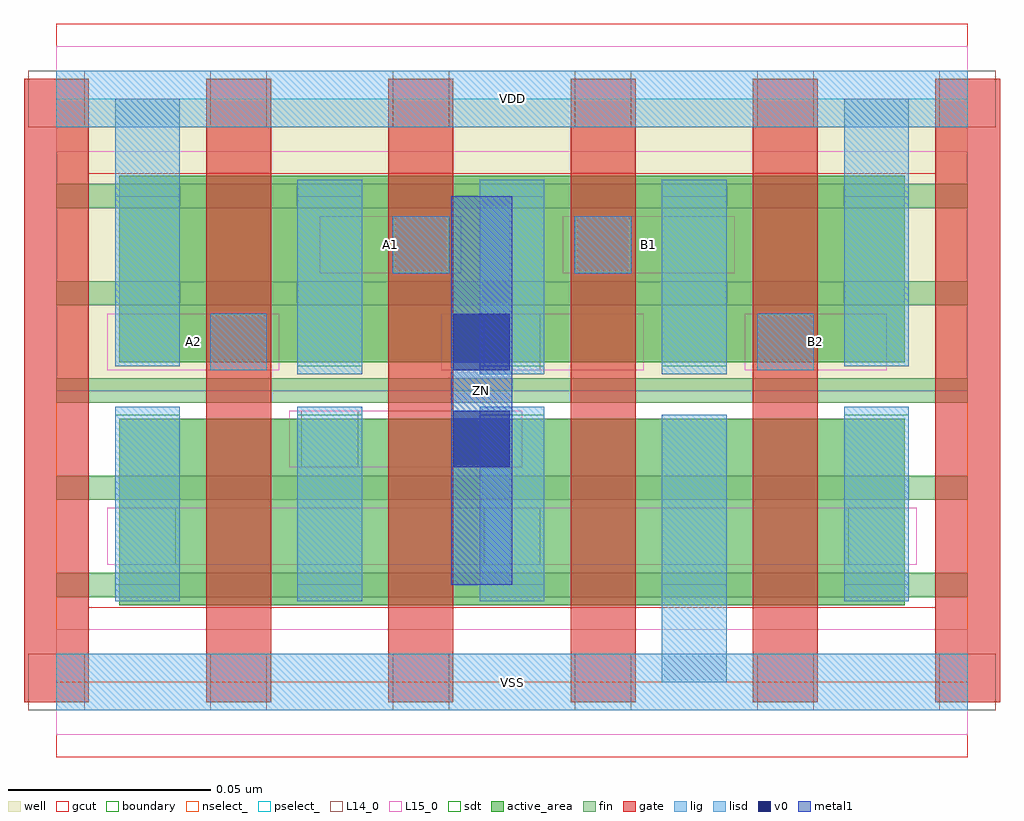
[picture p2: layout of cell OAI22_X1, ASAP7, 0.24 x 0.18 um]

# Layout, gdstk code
import gdstk
lib = gdstk.Library(unit=1e-6, precision=2.5e-10)
def R(c, l, rs):  # rectangles x0, y0, x1, y1
    for r in rs: c.add(gdstk.rectangle(r[:2], r[2:], *l))
def A(c, l, x, y, w, h, nx, ny, dx, dy):  # array of equal rectangles
    R(c, l, [(x+i*dx, y+j*dy, x+i*dx+w, y+j*dy+h) for i in range(nx) for j in range(ny)])
well = (1, 0)
fin = (2, 0)
gate = (7, 0)
gcut = (10, 0)
active_area = (11, 0)
nselect_ = (12, 0)
pselect_ = (13, 0)
L14_0 = (14, 0)
L15_0 = (15, 0)
lig = (16, 0)
lisd = (17, 0)
v0 = (18, 0)
metal1 = (19, 0)
sdt = (88, 0)
boundary = (100, 0)

oai22_x1 = lib.new_cell('OAI22_X1')
R(oai22_x1, well, [(0,0.072,0.225,0.144)])
A(oai22_x1, fin, 0, 0.021, 0.225, 0.006, 1, 5, 0, 0.024)
A(oai22_x1, gate, -0.008, -0.005, 0.016, 0.154, 6, 1, 0.045, 0)
R(oai22_x1, gcut, [(0,-0.0185,0.225,0.0185), (-0.008,-0.005,0.008,0.149), (0.217,-0.005,0.233,0.149), (0,0.1255,0.225,0.1625)])
A(oai22_x1, active_area, 0.0155, 0.019, 0.059, 0.046, 4, 2, 0.045, 0.06)
R(oai22_x1, nselect_, [(0,0,0.225,0.072)])
R(oai22_x1, pselect_, [(0,0.072,0.225,0.144)])
A(oai22_x1, L14_0, -0.007, -0.007, 0.014, 0.014, 6, 2, 0.045, 0.144)
A(oai22_x1, L14_0, 0.0155, 0.029, 0.014, 0.014, 3, 1, 0.09, 0)
A(oai22_x1, L14_0, 0.038, 0.077, 0.014, 0.014, 3, 1, 0.0675, 0)
R(oai22_x1, L14_0, [(0.0605,0.053,0.0745,0.067), (0.083,0.101,0.097,0.115), (0.128,0.101,0.142,0.115)])
R(oai22_x1, L15_0, [(0,-0.013,0.225,0.013), (0.0125,0.029,0.2125,0.043), (0.0575,0.053,0.115,0.067), (0.0125,0.077,0.055,0.091), (0.095,0.077,0.145,0.091), (0.17,0.077,0.205,0.091), (0.065,0.101,0.1,0.115), (0.125,0.101,0.1675,0.115), (0,0.131,0.225,0.157)])
R(oai22_x1, lig, [(0,-0.007,0.225,0.007), (0.038,0.077,0.052,0.091), (0.173,0.077,0.187,0.091), (0.083,0.101,0.097,0.115), (0.128,0.101,0.142,0.115), (0,0.137,0.225,0.151)])
R(oai22_x1, lisd, [(0.1495,0,0.1655,0.066), (0.1495,0,0.1655,0.066), (0.0145,0.02,0.0305,0.068), (0.0595,0.02,0.0755,0.068), (0.0595,0.02,0.0755,0.068), (0.1045,0.02,0.1205,0.068), (0.1045,0.02,0.1205,0.068), (0.1945,0.02,0.2105,0.068), (0.0595,0.076,0.0755,0.124), (0.0595,0.076,0.0755,0.124), (0.1045,0.076,0.1205,0.124), (0.1045,0.076,0.1205,0.124), (0.1495,0.076,0.1655,0.124), (0.1495,0.076,0.1655,0.124), (0.0145,0.078,0.0305,0.144), (0.1945,0.078,0.2105,0.144)])
R(oai22_x1, v0, [(0.098,0.053,0.112,0.067), (0.098,0.077,0.112,0.091)])
R(oai22_x1, metal1, [(0.0975,0.024,0.1125,0.12)])
R(oai22_x1, sdt, [(0.0145,0.024,0.0305,0.066), (0.0595,0.024,0.0755,0.066), (0.0595,0.024,0.0755,0.066), (0.1045,0.024,0.1205,0.066), (0.1045,0.024,0.1205,0.066), (0.1495,0.024,0.1655,0.066), (0.1495,0.024,0.1655,0.066), (0.1945,0.024,0.2105,0.066), (0.0145,0.078,0.0305,0.12), (0.0595,0.078,0.0755,0.12), (0.0595,0.078,0.0755,0.12), (0.1045,0.078,0.1205,0.12), (0.1045,0.078,0.1205,0.12), (0.1495,0.078,0.1655,0.12), (0.1495,0.078,0.1655,0.12), (0.1945,0.078,0.2105,0.12)])
R(oai22_x1, boundary, [(0,0,0.225,0.144)])
oai22_x1.add(gdstk.Label('VDD', (0.1125,0.144), layer=1, texttype=251))
oai22_x1.add(gdstk.Label('VSS', (0.1125,0), layer=3, texttype=251))
oai22_x1.add(gdstk.Label('A2', (0.0338,0.084), layer=15, texttype=251))
oai22_x1.add(gdstk.Label('A1', (0.0825,0.108), layer=15, texttype=251))
oai22_x1.add(gdstk.Label('B1', (0.1462,0.108), layer=15, texttype=251))
oai22_x1.add(gdstk.Label('B2', (0.1875,0.084), layer=15, texttype=251))
oai22_x1.add(gdstk.Label('VSS', (0.1125,0), layer=15, texttype=251))
oai22_x1.add(gdstk.Label('VDD', (0.1125,0.144), layer=15, texttype=251))
oai22_x1.add(gdstk.Label('ZN', (0.105,0.072), layer=19, texttype=251))

lib.write_gds('OAI22_X1.gds')
